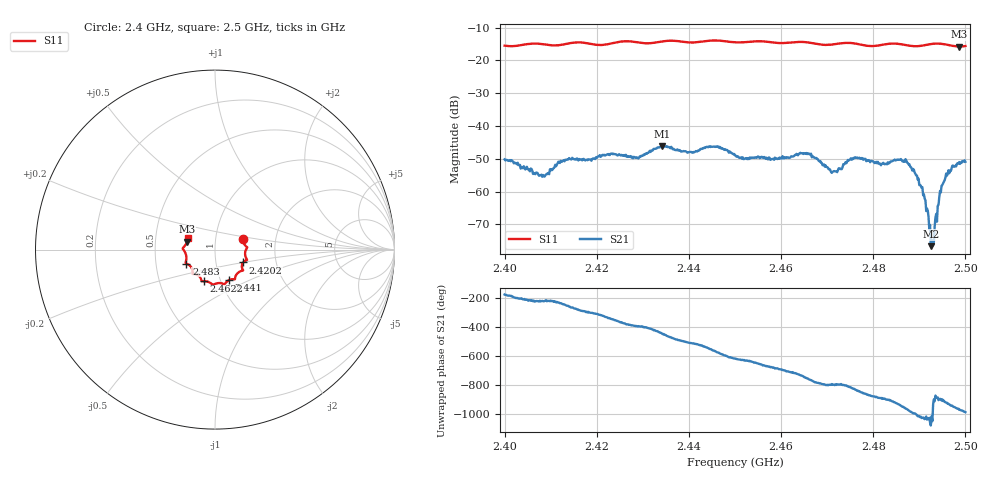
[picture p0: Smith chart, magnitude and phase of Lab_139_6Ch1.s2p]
# Hz S RI R 50
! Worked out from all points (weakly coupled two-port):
!   601 points, 2.4 GHz to 2.5 GHz, reference 50 ohm
!   highest |S21| = -46.10 dB at 2.4342 GHz (marker M1); lowest = -76.6 dB at 2.4925 GHz (marker M2)
!   lowest |S11| = -15.8 dB at 2.4987 GHz (marker M3), VSWR 1.39, Z = 36.4 + j3.29 ohm
!   |S11| at or under -10 dB: start of sweep to end of sweep
!   S12 and S22 are empty: the file has one direction only
!   S11 on the Smith chart (normalised r, x): 2.4 GHz: 1.36, +0.17; 2.4202 GHz: 1.35, -0.20; 2.441 GHz: 1.10, -0.39; 2.4622 GHz: 0.83, -0.30; 2.483 GHz: 0.72, -0.12; 2.5 GHz: 0.73, +0.09
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2.4e9  0.1562 0.0603  -0.0031 -1.63e-05  0 0  0 0
2.408333e9  0.1761 0.00651  -0.00126 0.00127  0 0  0 0
2.416667e9  0.1776 -0.0583  0.00113 0.00288  0 0  0 0
2.420167e9  0.1562 -0.0717  0.00235 0.00247  0 0  0 0
2.433333e9  0.1131 -0.1522  0.00115 -0.00458  0 0  0 0
2.434167e9  0.112 -0.1584  0.000221 -0.00495  0 0  0 0
2.441e9  0.0769 -0.1703  -0.00364 -0.00171  0 0  0 0
2.45e9  0.0267 -0.1863  -0.000628 0.00351  0 0  0 0
2.462167e9  -0.0632 -0.1766  0.00342 0.000379  0 0  0 0
2.466667e9  -0.0767 -0.1668  0.00214 -0.00254  0 0  0 0
2.471333e9  -0.1091 -0.1372  0.000422 -0.00198  0 0  0 0
2.476167e9  -0.1251 -0.1296  -0.00131 -0.00298  0 0  0 0
2.483e9  -0.1592 -0.0782  -0.0026 0.000103  0 0  0 0
2.483333e9  -0.1608 -0.0775  -0.00268 0.000207  0 0  0 0
2.487e9  -0.1607 -0.0595  -0.00144 0.00277  0 0  0 0
2.489167e9  -0.1606 -0.0327  0.000277 0.00184  0 0  0 0
2.490833e9  -0.168 -0.0124  0.000489 0.000731  0 0  0 0
2.4925e9  -0.1768 0.000361  0.000147 3.4e-06  0 0  0 0
2.493e9  -0.1788 0.00287  -0.000129 7.99e-05  0 0  0 0
2.495333e9  -0.176 0.0122  -0.00141 0.000204  0 0  0 0
2.498667e9  -0.1559 0.044  -0.00088 0.00268  0 0  0 0
2.5e9  -0.1528 0.0627  -0.000125 0.00285  0 0  0 0
